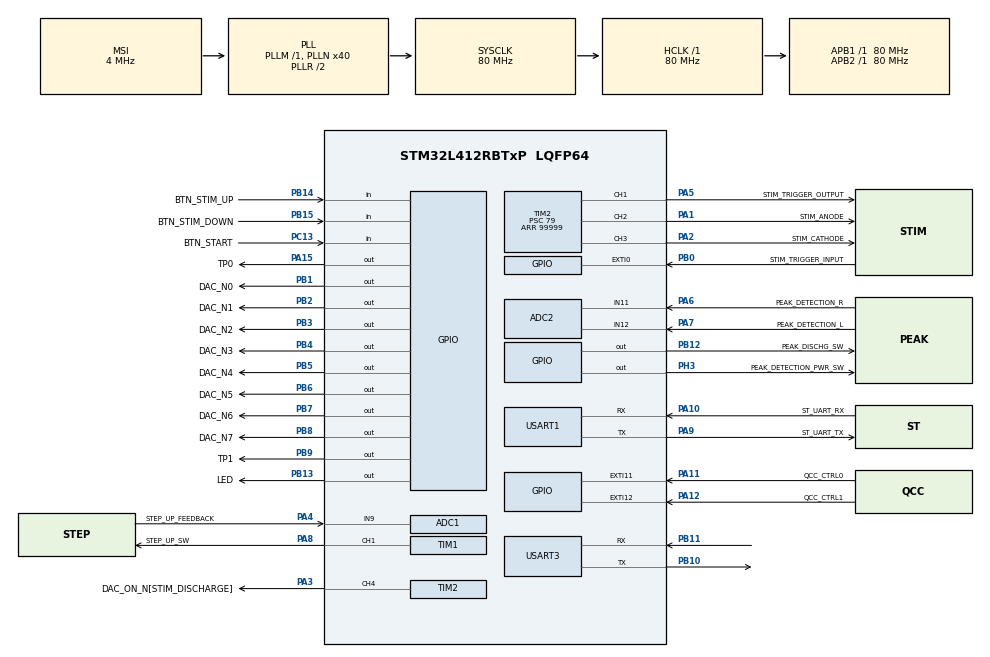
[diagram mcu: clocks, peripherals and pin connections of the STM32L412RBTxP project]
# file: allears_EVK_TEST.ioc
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ADC1.AWD1HighThreshold=2600
ADC1.AWD1ITMode=ENABLE
ADC1.Channel-0\#ChannelRegularConversion=ADC_CHANNEL_9
ADC1.ContinuousConvMode=ENABLE
ADC1.DMAContinuousRequests=ENABLE
ADC1.EOCSelection=ADC_EOC_SEQ_CONV
ADC1.EnableAnalogWatchDog1=true
ADC1.NbrOfConversionFlag=1
ADC1.OffsetNumber-0\#ChannelRegularConversion=ADC_OFFSET_NONE
ADC1.Overrun=ADC_OVR_DATA_OVERWRITTEN
ADC1.Rank-0\#ChannelRegularConversion=1
ADC1.SamplingTime-0\#ChannelRegularConversion=ADC_SAMPLETIME_2CYCLES_5
ADC1.WatchdogChannel=ADC_CHANNEL_9
ADC1.master=1
ADC2.Channel-2\#ChannelRegularConversion=ADC_CHANNEL_11
ADC2.Channel-3\#ChannelRegularConversion=ADC_CHANNEL_12
ADC2.ContinuousConvMode=DISABLE
ADC2.DMAContinuousRequests=ENABLE
ADC2.EOCSelection=ADC_EOC_SEQ_CONV
ADC2.ExternalTrigConv=ADC_EXTERNALTRIG_T2_TRGO
ADC2.ExternalTrigConvEdge=ADC_EXTERNALTRIGCONVEDGE_FALLING
ADC2.NbrOfConversion=2
ADC2.NbrOfConversionFlag=1
ADC2.OffsetNumber-2\#ChannelRegularConversion=ADC_OFFSET_NONE
ADC2.OffsetNumber-3\#ChannelRegularConversion=ADC_OFFSET_NONE
ADC2.Overrun=ADC_OVR_DATA_OVERWRITTEN
ADC2.Rank-2\#ChannelRegularConversion=1
ADC2.Rank-3\#ChannelRegularConversion=2
ADC2.SamplingTime-2\#ChannelRegularConversion=ADC_SAMPLETIME_47CYCLES_5
ADC2.SamplingTime-3\#ChannelRegularConversion=ADC_SAMPLETIME_47CYCLES_5
Dma.ADC1.2.Direction=DMA_PERIPH_TO_MEMORY
Dma.ADC1.2.Instance=DMA2_Channel3
Dma.ADC1.2.MemDataAlignment=DMA_MDATAALIGN_HALFWORD
Dma.ADC1.2.MemInc=DMA_MINC_ENABLE
Dma.ADC1.2.Mode=DMA_CIRCULAR
Dma.ADC1.2.PeriphDataAlignment=DMA_PDATAALIGN_HALFWORD
Dma.ADC1.2.PeriphInc=DMA_PINC_DISABLE
Dma.ADC1.2.Priority=DMA_PRIORITY_LOW
Dma.ADC2.3.Direction=DMA_PERIPH_TO_MEMORY
Dma.ADC2.3.Instance=DMA1_Channel2
Dma.ADC2.3.MemDataAlignment=DMA_MDATAALIGN_HALFWORD
Dma.ADC2.3.MemInc=DMA_MINC_ENABLE
Dma.ADC2.3.Mode=DMA_CIRCULAR
Dma.ADC2.3.PeriphDataAlignment=DMA_PDATAALIGN_HALFWORD
Dma.ADC2.3.PeriphInc=DMA_PINC_DISABLE
Dma.ADC2.3.Priority=DMA_PRIORITY_LOW
Dma.Request0=TIM2_CH2/CH4
Dma.Request1=TIM2_CH3
Dma.Request2=ADC1
Dma.Request3=ADC2
Dma.Request4=USART1_RX
Dma.Request5=USART1_TX
Dma.TIM2_CH2/CH4.0.Direction=DMA_MEMORY_TO_PERIPH
Dma.TIM2_CH2/CH4.0.Instance=DMA1_Channel7
Dma.TIM2_CH2/CH4.0.MemDataAlignment=DMA_MDATAALIGN_WORD
Dma.TIM2_CH2/CH4.0.MemInc=DMA_MINC_ENABLE
Dma.TIM2_CH2/CH4.0.Mode=DMA_CIRCULAR
Dma.TIM2_CH2/CH4.0.PeriphDataAlignment=DMA_PDATAALIGN_WORD
Dma.TIM2_CH2/CH4.0.PeriphInc=DMA_PINC_DISABLE
Dma.TIM2_CH2/CH4.0.Priority=DMA_PRIORITY_VERY_HIGH
Dma.TIM2_CH3.1.Direction=DMA_MEMORY_TO_PERIPH
Dma.TIM2_CH3.1.Instance=DMA1_Channel1
Dma.TIM2_CH3.1.MemDataAlignment=DMA_MDATAALIGN_WORD
Dma.TIM2_CH3.1.MemInc=DMA_MINC_ENABLE
Dma.TIM2_CH3.1.Mode=DMA_CIRCULAR
Dma.TIM2_CH3.1.PeriphDataAlignment=DMA_PDATAALIGN_WORD
Dma.TIM2_CH3.1.PeriphInc=DMA_PINC_DISABLE
Dma.TIM2_CH3.1.Priority=DMA_PRIORITY_VERY_HIGH
Dma.USART1_RX.4.Direction=DMA_PERIPH_TO_MEMORY
Dma.USART1_RX.4.Instance=DMA1_Channel5
Dma.USART1_RX.4.MemDataAlignment=DMA_MDATAALIGN_BYTE
Dma.USART1_RX.4.MemInc=DMA_MINC_ENABLE
Dma.USART1_RX.4.Mode=DMA_NORMAL
Dma.USART1_RX.4.PeriphDataAlignment=DMA_PDATAALIGN_BYTE
Dma.USART1_RX.4.PeriphInc=DMA_PINC_DISABLE
Dma.USART1_RX.4.Priority=DMA_PRIORITY_LOW
Dma.USART1_TX.5.Direction=DMA_MEMORY_TO_PERIPH
Dma.USART1_TX.5.Instance=DMA1_Channel4
Dma.USART1_TX.5.MemDataAlignment=DMA_MDATAALIGN_BYTE
Dma.USART1_TX.5.MemInc=DMA_MINC_ENABLE
Dma.USART1_TX.5.Mode=DMA_NORMAL
Dma.USART1_TX.5.PeriphDataAlignment=DMA_PDATAALIGN_BYTE
Dma.USART1_TX.5.PeriphInc=DMA_PINC_DISABLE
Dma.USART1_TX.5.Priority=DMA_PRIORITY_LOW
Mcu.Family=STM32L4
Mcu.Name=STM32L412RBTxP
Mcu.Package=LQFP64
NVIC.ADC1_2_IRQn=true\:1\:0\:true\:false\:true\:true\:true\:true
NVIC.DMA1_Channel1_IRQn=true\:1\:0\:true\:false\:true\:true\:true\:true
NVIC.DMA1_Channel2_IRQn=true\:1\:0\:true\:false\:true\:true\:true\:true
NVIC.DMA1_Channel4_IRQn=true\:0\:0\:false\:false\:true\:true\:true\:true
NVIC.DMA1_Channel5_IRQn=true\:0\:0\:false\:false\:true\:true\:true\:true
NVIC.DMA1_Channel7_IRQn=true\:1\:0\:true\:false\:true\:true\:true\:true
NVIC.EXTI0_IRQn=true\:0\:0\:false\:false\:true\:true\:true\:true
NVIC.EXTI15_10_IRQn=true\:0\:0\:false\:false\:true\:true\:true\:true
NVIC.PriorityGroup=NVIC_PRIORITYGROUP_4
NVIC.TIM1_UP_TIM16_IRQn=true\:2\:0\:true\:false\:true\:true\:true\:true
NVIC.TIM2_IRQn=true\:2\:0\:true\:false\:true\:true\:true\:true
NVIC.TIM6_IRQn=true\:2\:0\:true\:false\:true\:true\:true\:true
NVIC.USART1_IRQn=true\:0\:0\:false\:false\:true\:true\:true\:true
PA0.Mode=SYS_WakeUp0
PA0.Signal=SYS_WKUP1
PA1.GPIO_Label=STIM_ANODE
PA1.GPIO_PuPd=GPIO_NOPULL
PA1.GPIO_Speed=GPIO_SPEED_FREQ_VERY_HIGH
PA1.Signal=S_TIM2_CH2
PA10.GPIO_Label=ST_UART_RX
PA10.Mode=Asynchronous
PA10.Signal=USART1_RX
PA11.GPIO_Label=QCC_CTRL0
PA11.Signal=GPXTI11
PA12.GPIO_Label=QCC_CTRL1
PA12.Signal=GPXTI12
PA13\ (JTMS/SWDIO).GPIO_Label=TMS
PA13\ (JTMS/SWDIO).Mode=Serial_Wire
PA13\ (JTMS/SWDIO).Signal=SYS_JTMS-SWDIO
PA14\ (JTCK/SWCLK).GPIO_Label=TCK
PA14\ (JTCK/SWCLK).Mode=Serial_Wire
PA14\ (JTCK/SWCLK).Signal=SYS_JTCK-SWCLK
PA15\ (JTDI).GPIO_Label=TP0
PA15\ (JTDI).Signal=GPIO_Output
PA2.GPIO_Label=STIM_CATHODE
PA2.GPIO_PuPd=GPIO_NOPULL
PA2.GPIO_Speed=GPIO_SPEED_FREQ_VERY_HIGH
PA2.Signal=S_TIM2_CH3
PA3.GPIO_Label=DAC_ON_N[STIM_DISCHARGE]
PA3.GPIO_PuPd=GPIO_NOPULL
PA3.GPIO_Speed=GPIO_SPEED_FREQ_VERY_HIGH
PA3.Signal=S_TIM2_CH4
PA4.GPIO_Label=STEP_UP_FEEDBACK
PA4.Signal=ADCx_IN9
PA5.GPIO_Label=STIM_TRIGGER_OUTPUT
PA5.GPIO_PuPd=GPIO_NOPULL
PA5.GPIO_Speed=GPIO_SPEED_FREQ_VERY_HIGH
PA5.Signal=S_TIM2_CH1
PA6.GPIO_Label=PEAK_DETECTION_R
PA6.Signal=ADCx_IN11
PA7.GPIO_Label=PEAK_DETECTION_L
PA7.Signal=ADCx_IN12
PA8.GPIO_Label=STEP_UP_SW
PA8.Signal=S_TIM1_CH1
PA9.GPIO_Label=ST_UART_TX
PA9.Mode=Asynchronous
PA9.Signal=USART1_TX
PB0.GPIO_Label=STIM_TRIGGER_INPUT
PB0.Signal=GPXTI0
PB1.GPIO_Label=DAC_N0
PB1.Signal=GPIO_Output
PB10.Mode=Asynchronous
PB10.Signal=USART3_TX
PB11.Mode=Asynchronous
PB11.Signal=USART3_RX
PB12.GPIO_Label=PEAK_DISCHG_SW
PB12.Signal=GPIO_Output
PB13.GPIO_Label=LED
PB13.Signal=GPIO_Output
PB14.GPIO_Label=BTN_STIM_UP
PB14.Signal=GPIO_Input
PB15.GPIO_Label=BTN_STIM_DOWN
PB15.Signal=GPIO_Input
PB2.GPIO_Label=DAC_N1
PB2.Signal=GPIO_Output
PB3\ (JTDO/TRACESWO).GPIO_Label=DAC_N2
PB3\ (JTDO/TRACESWO).Signal=GPIO_Output
PB4\ (NJTRST).GPIO_Label=DAC_N3
PB4\ (NJTRST).Signal=GPIO_Output
PB5.GPIO_Label=DAC_N4
PB5.Signal=GPIO_Output
PB6.GPIO_Label=DAC_N5
PB6.Signal=GPIO_Output
PB7.GPIO_Label=DAC_N6
PB7.Signal=GPIO_Output
PB8.GPIO_Label=DAC_N7
PB8.Signal=GPIO_Output
PB9.GPIO_Label=TP1
PB9.Signal=GPIO_Output
PC13.GPIO_Label=BTN_START
PC13.GPIO_PuPd=GPIO_PULLDOWN
PC13.Signal=GPIO_Input
PC14-OSC32_IN\ (PC14).Mode=LSE-External-Oscillator
PC14-OSC32_IN\ (PC14).Signal=RCC_OSC32_IN
PC15-OSC32_OUT\ (PC15).Mode=LSE-External-Oscillator
PC15-OSC32_OUT\ (PC15).Signal=RCC_OSC32_OUT
PH0-OSC_IN\ (PH0).GPIO_Label=MCO
PH0-OSC_IN\ (PH0).Mode=HSE-External-Clock-Source
PH0-OSC_IN\ (PH0).Signal=RCC_OSC_IN
PH1-OSC_OUT\ (PH1).Signal=RCC_OSC_OUT
PH3-BOOT0\ (BOOT0).GPIO_Label=PEAK_DETECTION_PWR_SW
PH3-BOOT0\ (BOOT0).Signal=GPIO_Output
ProjectManager.HeapSize=0x7FF
ProjectManager.StackSize=0x7FF
ProjectManager.TargetToolchain=STM32CubeIDE
RCC.ADCFreq_Value=80000000
RCC.AHBFreq_Value=80000000
RCC.APB1Freq_Value=80000000
RCC.APB1TimFreq_Value=80000000
RCC.APB2Freq_Value=80000000
RCC.APB2TimFreq_Value=80000000
RCC.CortexFreq_Value=80000000
RCC.FLatency=FLASH_LATENCY_4
RCC.HCLKFreq_Value=80000000
RCC.HSE_VALUE=8000000
RCC.HSI48_VALUE=48000000
RCC.HSICalibrationValue=16
RCC.HSI_VALUE=16000000
RCC.MSIAutoCalibration=DISABLED
RCC.MSI_VALUE=4000000
RCC.PLLN=40
RCC.PREFETCH_ENABLE=1
RCC.SYSCLKFreq_VALUE=80000000
RCC.SYSCLKSource=RCC_SYSCLKSOURCE_PLLCLK
RCC.USBFreq_Value=4000000
RCC.VCOOutputFreq_Value=160000000
SH.ADCx_IN11.0=ADC2_IN11,IN11-Single-Ended
SH.ADCx_IN12.0=ADC2_IN12,IN12-Single-Ended
SH.ADCx_IN9.0=ADC1_IN9,IN9-Single-Ended
SH.S_TIM1_CH1.0=TIM1_CH1,PWM Generation1 CH1
SH.S_TIM2_CH1.0=TIM2_CH1,PWM Generation1 CH1
SH.S_TIM2_CH2.0=TIM2_CH2,PWM Generation2 CH2
SH.S_TIM2_CH3.0=TIM2_CH3,Output Compare3 CH3
SH.S_TIM2_CH4.0=TIM2_CH4,Output Compare4 CH4
TIM1.AutoReloadPreload=TIM_AUTORELOAD_PRELOAD_ENABLE
TIM1.Channel-PWM\ Generation1\ CH1=TIM_CHANNEL_1
TIM1.CounterMode=TIM_COUNTERMODE_DOWN
TIM1.Period=9999
TIM1.Prescaler=3
TIM2.AutoReloadPreload=TIM_AUTORELOAD_PRELOAD_ENABLE
TIM2.Channel-Output\ Compare3\ CH3=TIM_CHANNEL_3
TIM2.Channel-Output\ Compare4\ CH4=TIM_CHANNEL_4
TIM2.Channel-PWM\ Generation1\ CH1=TIM_CHANNEL_1
TIM2.Channel-PWM\ Generation2\ CH2=TIM_CHANNEL_2
TIM2.OC4Preload=DISABLE
TIM2.OCMode_3=TIM_OCMODE_TOGGLE
TIM2.OCMode_4=TIM_OCMODE_TOGGLE
TIM2.OCPolarity_1=TIM_OCPOLARITY_LOW
TIM2.OCPolarity_2=TIM_OCPOLARITY_HIGH
TIM2.Period=99999
TIM2.Prescaler=79
TIM2.Pulse-Output\ Compare3\ CH3=1
TIM2.Pulse-Output\ Compare4\ CH4=1
TIM2.Pulse-PWM\ Generation1\ CH1=1
TIM2.Pulse-PWM\ Generation2\ CH2=1
TIM2.TIM_MasterOutputTrigger=TIM_TRGO_OC2REF
TIM2.TIM_MasterSlaveMode=TIM_MASTERSLAVEMODE_DISABLE
TIM6.AutoReloadPreload=TIM_AUTORELOAD_PRELOAD_ENABLE
TIM6.Period=9999
TIM6.Prescaler=799
USART1.VirtualMode-Asynchronous=VM_ASYNC
USART3.VirtualMode-Asynchronous=VM_ASYNC
VP_TIM6_VS_ClockSourceINT.Mode=Enable_Timer
board=NUCLEO-L412RB-P

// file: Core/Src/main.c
/* USER CODE BEGIN Header */
/**
 ******************************************************************************
 * @file           : main.c
 * @brief          : Main program body
 ******************************************************************************
 * @attention
 *
 * Copyright (c) 2023 STMicroelectronics.
 * All rights reserved.
 *
 * This software is licensed under terms that can be found in the LICENSE file
 * in the root directory of this software component.
 * If no LICENSE file comes with this software, it is provided AS-IS.
 *
 ******************************************************************************
 */
/* USER CODE END Header */
#include "main.h"

/* USER CODE BEGIN Includes */
#include "stim_lib.h"

#include "td_schedule.h"

#include "td_private.h"
#include "bt_msg_private.h"
#include "td_uart1.h"

#include "td_debug.h"
/* USER CODE END Includes */

ADC_HandleTypeDef hadc1;
ADC_HandleTypeDef hadc2;
DMA_HandleTypeDef hdma_adc1;
DMA_HandleTypeDef hdma_adc2;

TIM_HandleTypeDef htim1;
TIM_HandleTypeDef htim2;
TIM_HandleTypeDef htim6;
DMA_HandleTypeDef hdma_tim2_ch2_ch4;
DMA_HandleTypeDef hdma_tim2_ch3;

UART_HandleTypeDef huart1;
UART_HandleTypeDef huart3;
DMA_HandleTypeDef hdma_usart1_rx;
DMA_HandleTypeDef hdma_usart1_tx;

void SystemClock_Config(void);
/* USER CODE BEGIN PFP */
UART_HandleTypeDef* tdUsart1_handlerGet(void)
{
	return &huart1;
}

void USER_DMA_INIT(void)
{
	/* DMA1_Channel4_IRQn interrupt configuration */
	HAL_NVIC_SetPriority(DMA1_Channel4_IRQn, 0, 0);
	HAL_NVIC_EnableIRQ(DMA1_Channel4_IRQn);
	/* DMA1_Channel5_IRQn interrupt configuration */
	HAL_NVIC_SetPriority(DMA1_Channel5_IRQn, 0, 0);
	HAL_NVIC_EnableIRQ(DMA1_Channel5_IRQn);
}

/*
 * STIM LIB :: EXTI CALLBACK
 * */
void HAL_GPIO_EXTI_Callback(uint16_t GPIO_Pin)
{
	/*
	 * Trigger Input External Interrupt Process
	 * */
	stimLib_trgInput_callback(GPIO_Pin);

	/* Application Code */
}

/*
 * STIM LIB :: PULSE FINISH INTERRUPT
 * */
void HAL_TIM_ErrorCallback(TIM_HandleTypeDef *htim)
{
	stimLib_timError_callback(htim);
	TD_DEBUG_PRINT(("HAL_TIM_ErrorCallback\n"));
}

void HAL_TIM_PWM_PulseFinishedHalfCpltCallback(TIM_HandleTypeDef *htim)
{
	TD_DEBUG_PRINT(("HAL_TIM_PWM_PulseFinishedHalfCpltCallback\n"));
}

void HAL_TIM_PWM_PulseFinishedCallback(TIM_HandleTypeDef *htim)
{
	stimLib_timPwmPluseFinished_callback(htim);
	TD_DEBUG_PRINT(("HAL_TIM_PWM_PulseFinishedCallback\n"));
}

/*
 * TIMER INTERRUPT :: STEPUP SCHEDULER
 * */
void HAL_TIM_PeriodElapsedCallback(TIM_HandleTypeDef *htim)
{
	stimLib_stepup_ctrlCallback(htim);
}

/*
 * STIM LIB :: ADC Error Callback
 * */
void HAL_ADC_ErrorCallback(ADC_HandleTypeDef *hadc)
{
	stimLib_adcError_callback();
}

/*
 * STIM LIB :: Ste-up ADC watchdog
 * */
void HAL_ADC_LevelOutOfWindowCallback(ADC_HandleTypeDef *hadc)
{
	stimLib_adcWatchdoc_callback();
}

#if 0
/*
 * STIM LIB :: Peak Detection Data Read
 * */
void HAL_ADC_ConvCpltCallback(ADC_HandleTypeDef *hadc)
{
	/*
	 * How to read Peak Detection data
	 * Please refer to the example code below
	 * ----------------------------------------
	 * uint8_t i;
	 * if (hadc->Instance == hadc2.Instance)
	 * {
	 * 		for (i = 0; i < PD_ADC_CONVERSION_SIZE; i++)
	 * 		{
	 * 			USER_PD_ADC_BUFF_R[i] = PD_ADC_CONVERSION_BUFFER[i * 2];
	 * 			USER_PD_ADC_BUFF_R[i] = PD_ADC_CONVERSION_BUFFER[(i * 2) + 1];
	 * 		}
	 * }
	 * ----------------------------------------
	 */
}
#endif

/* USER CODE END PFP */

int main(void)
{

	/* MCU Configuration--------------------------------------------------------*/

	/* Reset of all peripherals, Initializes the Flash interface and the Systick. */
	HAL_Init();

	/* Configure the system clock */
	SystemClock_Config();

	/* USER CODE BEGIN SysInit */
	MX_USART3_UART_Init();
	stimLib_stimInit();
	USER_DMA_INIT();
	MX_USART1_UART_Init();
#if 0
	/* USER CODE END SysInit */

	/* Initialize all configured peripherals */
	MX_GPIO_Init();
	MX_DMA_Init();
	MX_USART3_UART_Init();
	MX_TIM1_Init();
	MX_TIM2_Init();
	MX_TIM6_Init();
	MX_ADC1_Init();
	MX_ADC2_Init();
	MX_USART1_UART_Init();
	/* USER CODE BEGIN 2 */
#endif
	TD_DEBUG_INIT();
	TD_DEBUG_PRINT(("main() starts\n"));

	tdUart1_init();
	btMsg_init();

#if 0
	stim_signal_cfg_t pulse_data;

	pulse_data.freq = 10;
	pulse_data.pulse_width = 1000;
	pulse_data.degree = 20;
	stimLib_stimSignalConfig(&pulse_data);
#endif
#if 0
	stim_trg_cfg_t trg_data;

	trg_data.volt_prestart = true;
	trg_data.trg_out_enable = false;
	trg_data.trg_out_active_pol = 1;
	trg_data.trg_in_enable = true;
	trg_data.trg_in_active_pol = 1;
	trg_data.trg_in_toggled = true;
	stimLib_stimTriggerConfig(&trg_data);
#endif

	/* USER CODE END 2 */

	/* Infinite loop */
	while (1)
	{

		/* USER CODE BEGIN 3 */
#if 0
		pulse_data.freq = 10;
		pulse_data.pulse_width = 1000;
		pulse_data.degree = 1;
		stimLib_stimSignalConfig(&pulse_data);

		trg_data.volt_prestart = false;
		trg_data.trg_out_enable = false;
		trg_data.trg_out_active_pol = 1;
		trg_data.trg_in_enable = false;
		trg_data.trg_in_active_pol = 1;
		trg_data.trg_in_toggled = true;
		stimLib_stimTriggerConfig(&trg_data);

		stimLib_stimSessionStart();

		stimLib_stimStart();
		HAL_Delay(1000);

		stimLib_stimPause();
		HAL_Delay(300);
		stimLib_stimSessionStop();
#endif
		td_Schedule();
	}
	/* USER CODE END 3 */
}

void SystemClock_Config(void)
{
	RCC_OscInitTypeDef RCC_OscInitStruct =
	{ 0 };
	RCC_ClkInitTypeDef RCC_ClkInitStruct =
	{ 0 };

	/** Configure the main internal regulator output voltage
	 */
	if (HAL_PWREx_ControlVoltageScaling(PWR_REGULATOR_VOLTAGE_SCALE1) != HAL_OK)
	{
		Error_Handler();
	}

	/** Initializes the RCC Oscillators according to the specified parameters
	 * in the RCC_OscInitTypeDef structure.
	 */
	RCC_OscInitStruct.OscillatorType = RCC_OSCILLATORTYPE_MSI;
	RCC_OscInitStruct.MSIState = RCC_MSI_ON;
	RCC_OscInitStruct.MSICalibrationValue = 0;
	RCC_OscInitStruct.MSIClockRange = RCC_MSIRANGE_6;
	RCC_OscInitStruct.PLL.PLLState = RCC_PLL_ON;
	RCC_OscInitStruct.PLL.PLLSource = RCC_PLLSOURCE_MSI;
	RCC_OscInitStruct.PLL.PLLM = 1;
	RCC_OscInitStruct.PLL.PLLN = 40;
	RCC_OscInitStruct.PLL.PLLQ = RCC_PLLQ_DIV2;
	RCC_OscInitStruct.PLL.PLLR = RCC_PLLR_DIV2;
	if (HAL_RCC_OscConfig(&RCC_OscInitStruct) != HAL_OK)
	{
		Error_Handler();
	}

	/** Initializes the CPU, AHB and APB buses clocks
	 */
	RCC_ClkInitStruct.ClockType = RCC_CLOCKTYPE_HCLK | RCC_CLOCKTYPE_SYSCLK | RCC_CLOCKTYPE_PCLK1 | RCC_CLOCKTYPE_PCLK2;
	RCC_ClkInitStruct.SYSCLKSource = RCC_SYSCLKSOURCE_PLLCLK;
	RCC_ClkInitStruct.AHBCLKDivider = RCC_SYSCLK_DIV1;
	RCC_ClkInitStruct.APB1CLKDivider = RCC_HCLK_DIV1;
	RCC_ClkInitStruct.APB2CLKDivider = RCC_HCLK_DIV1;

	if (HAL_RCC_ClockConfig(&RCC_ClkInitStruct, FLASH_LATENCY_4) != HAL_OK)
	{
		Error_Handler();
	}
}

void MX_ADC1_Init(void)
{

	ADC_MultiModeTypeDef multimode =
	{ 0 };
	ADC_AnalogWDGConfTypeDef AnalogWDGConfig =
	{ 0 };
	ADC_ChannelConfTypeDef sConfig =
	{ 0 };

	/** Common config
	 */
	hadc1.Instance = ADC1;
	hadc1.Init.ClockPrescaler = ADC_CLOCK_ASYNC_DIV1;
	hadc1.Init.Resolution = ADC_RESOLUTION_12B;
	hadc1.Init.DataAlign = ADC_DATAALIGN_RIGHT;
	hadc1.Init.ScanConvMode = ADC_SCAN_DISABLE;
	hadc1.Init.EOCSelection = ADC_EOC_SEQ_CONV;
	hadc1.Init.LowPowerAutoWait = DISABLE;
	hadc1.Init.ContinuousConvMode = ENABLE;
	hadc1.Init.NbrOfConversion = 1;
	hadc1.Init.DiscontinuousConvMode = DISABLE;
	hadc1.Init.ExternalTrigConv = ADC_SOFTWARE_START;
	hadc1.Init.ExternalTrigConvEdge = ADC_EXTERNALTRIGCONVEDGE_NONE;
	hadc1.Init.DMAContinuousRequests = ENABLE;
	hadc1.Init.Overrun = ADC_OVR_DATA_OVERWRITTEN;
	hadc1.Init.OversamplingMode = DISABLE;
	if (HAL_ADC_Init(&hadc1) != HAL_OK)
	{
		Error_Handler();
	}

	/** Configure the ADC multi-mode
	 */
	multimode.Mode = ADC_MODE_INDEPENDENT;
	if (HAL_ADCEx_MultiModeConfigChannel(&hadc1, &multimode) != HAL_OK)
	{
		Error_Handler();
	}

	/** Configure Analog WatchDog 1
	 */
	AnalogWDGConfig.WatchdogNumber = ADC_ANALOGWATCHDOG_1;
	AnalogWDGConfig.WatchdogMode = ADC_ANALOGWATCHDOG_SINGLE_REG;
	AnalogWDGConfig.Channel = ADC_CHANNEL_9;
	AnalogWDGConfig.ITMode = ENABLE;
	AnalogWDGConfig.HighThreshold = 2600;
	AnalogWDGConfig.LowThreshold = 0;
	if (HAL_ADC_AnalogWDGConfig(&hadc1, &AnalogWDGConfig) != HAL_OK)
	{
		Error_Handler();
	}

	/** Configure Regular Channel
	 */
	sConfig.Channel = ADC_CHANNEL_9;
	sConfig.Rank = ADC_REGULAR_RANK_1;
	sConfig.SamplingTime = ADC_SAMPLETIME_2CYCLES_5;
	sConfig.SingleDiff = ADC_SINGLE_ENDED;
	sConfig.OffsetNumber = ADC_OFFSET_NONE;
	sConfig.Offset = 0;
	if (HAL_ADC_ConfigChannel(&hadc1, &sConfig) != HAL_OK)
	{
		Error_Handler();
	}

}

void MX_ADC2_Init(void)
{

	ADC_ChannelConfTypeDef sConfig =
	{ 0 };

	/** Common config
	 */
	hadc2.Instance = ADC2;
	hadc2.Init.ClockPrescaler = ADC_CLOCK_ASYNC_DIV1;
	hadc2.Init.Resolution = ADC_RESOLUTION_12B;
	hadc2.Init.DataAlign = ADC_DATAALIGN_RIGHT;
	hadc2.Init.ScanConvMode = ADC_SCAN_ENABLE;
	hadc2.Init.EOCSelection = ADC_EOC_SEQ_CONV;
	hadc2.Init.LowPowerAutoWait = DISABLE;
	hadc2.Init.ContinuousConvMode = DISABLE;
	hadc2.Init.NbrOfConversion = 2;
	hadc2.Init.DiscontinuousConvMode = DISABLE;
	hadc2.Init.ExternalTrigConv = ADC_EXTERNALTRIG_T2_TRGO;
	hadc2.Init.ExternalTrigConvEdge = ADC_EXTERNALTRIGCONVEDGE_FALLING;
	hadc2.Init.DMAContinuousRequests = ENABLE;
	hadc2.Init.Overrun = ADC_OVR_DATA_OVERWRITTEN;
	hadc2.Init.OversamplingMode = DISABLE;
	if (HAL_ADC_Init(&hadc2) != HAL_OK)
	{
		Error_Handler();
	}

	/** Configure Regular Channel
	 */
	sConfig.Channel = ADC_CHANNEL_11;
	sConfig.Rank = ADC_REGULAR_RANK_1;
	sConfig.SamplingTime = ADC_SAMPLETIME_47CYCLES_5;
	sConfig.SingleDiff = ADC_SINGLE_ENDED;
	sConfig.OffsetNumber = ADC_OFFSET_NONE;
	sConfig.Offset = 0;
	if (HAL_ADC_ConfigChannel(&hadc2, &sConfig) != HAL_OK)
	{
		Error_Handler();
	}

	/** Configure Regular Channel
	 */
	sConfig.Channel = ADC_CHANNEL_12;
	sConfig.Rank = ADC_REGULAR_RANK_2;
	if (HAL_ADC_ConfigChannel(&hadc2, &sConfig) != HAL_OK)
	{
		Error_Handler();
	}

}

void MX_TIM1_Init(void)
{

	TIM_MasterConfigTypeDef sMasterConfig =
	{ 0 };
	TIM_OC_InitTypeDef sConfigOC =
	{ 0 };
	TIM_BreakDeadTimeConfigTypeDef sBreakDeadTimeConfig =
	{ 0 };

	htim1.Instance = TIM1;
	htim1.Init.Prescaler = 3;
	htim1.Init.CounterMode = TIM_COUNTERMODE_DOWN;
	htim1.Init.Period = 9999;
	htim1.Init.ClockDivision = TIM_CLOCKDIVISION_DIV1;
	htim1.Init.RepetitionCounter = 0;
	htim1.Init.AutoReloadPreload = TIM_AUTORELOAD_PRELOAD_ENABLE;
	if (HAL_TIM_PWM_Init(&htim1) != HAL_OK)
	{
		Error_Handler();
	}
	sMasterConfig.MasterOutputTrigger = TIM_TRGO_RESET;
	sMasterConfig.MasterOutputTrigger2 = TIM_TRGO2_RESET;
	sMasterConfig.MasterSlaveMode = TIM_MASTERSLAVEMODE_DISABLE;
	if (HAL_TIMEx_MasterConfigSynchronization(&htim1, &sMasterConfig) != HAL_OK)
	{
		Error_Handler();
	}
	sConfigOC.OCMode = TIM_OCMODE_PWM1;
	sConfigOC.Pulse = 0;
	sConfigOC.OCPolarity = TIM_OCPOLARITY_HIGH;
	sConfigOC.OCNPolarity = TIM_OCNPOLARITY_HIGH;
	sConfigOC.OCFastMode = TIM_OCFAST_DISABLE;
	sConfigOC.OCIdleState = TIM_OCIDLESTATE_RESET;
	sConfigOC.OCNIdleState = TIM_OCNIDLESTATE_RESET;
	if (HAL_TIM_PWM_ConfigChannel(&htim1, &sConfigOC, TIM_CHANNEL_1) != HAL_OK)
	{
		Error_Handler();
	}
	sBreakDeadTimeConfig.OffStateRunMode = TIM_OSSR_DISABLE;
	sBreakDeadTimeConfig.OffStateIDLEMode = TIM_OSSI_DISABLE;
	sBreakDeadTimeConfig.LockLevel = TIM_LOCKLEVEL_OFF;
	sBreakDeadTimeConfig.DeadTime = 0;
	sBreakDeadTimeConfig.BreakState = TIM_BREAK_DISABLE;
	sBreakDeadTimeConfig.BreakPolarity = TIM_BREAKPOLARITY_HIGH;
	sBreakDeadTimeConfig.BreakFilter = 0;
	sBreakDeadTimeConfig.Break2State = TIM_BREAK2_DISABLE;
	sBreakDeadTimeConfig.Break2Polarity = TIM_BREAK2POLARITY_HIGH;
	sBreakDeadTimeConfig.Break2Filter = 0;
	sBreakDeadTimeConfig.AutomaticOutput = TIM_AUTOMATICOUTPUT_DISABLE;
	if (HAL_TIMEx_ConfigBreakDeadTime(&htim1, &sBreakDeadTimeConfig) != HAL_OK)
	{
		Error_Handler();
	}
	HAL_TIM_MspPostInit(&htim1);

}

void MX_TIM2_Init(void)
{

	TIM_MasterConfigTypeDef sMasterConfig =
	{ 0 };
	TIM_OC_InitTypeDef sConfigOC =
	{ 0 };

	htim2.Instance = TIM2;
	htim2.Init.Prescaler = 79;
	htim2.Init.CounterMode = TIM_COUNTERMODE_UP;
	htim2.Init.Period = 99999;
	htim2.Init.ClockDivision = TIM_CLOCKDIVISION_DIV1;
	htim2.Init.AutoReloadPreload = TIM_AUTORELOAD_PRELOAD_ENABLE;
	if (HAL_TIM_PWM_Init(&htim2) != HAL_OK)
	{
		Error_Handler();
	}
	if (HAL_TIM_OC_Init(&htim2) != HAL_OK)
	{
		Error_Handler();
	}
	sMasterConfig.MasterOutputTrigger = TIM_TRGO_OC2REF;
	sMasterConfig.MasterSlaveMode = TIM_MASTERSLAVEMODE_DISABLE;
	if (HAL_TIMEx_MasterConfigSynchronization(&htim2, &sMasterConfig) != HAL_OK)
	{
		Error_Handler();
	}
	sConfigOC.OCMode = TIM_OCMODE_PWM1;
	sConfigOC.Pulse = 1;
	sConfigOC.OCPolarity = TIM_OCPOLARITY_LOW;
	sConfigOC.OCFastMode = TIM_OCFAST_DISABLE;
	if (HAL_TIM_PWM_ConfigChannel(&htim2, &sConfigOC, TIM_CHANNEL_1) != HAL_OK)
	{
		Error_Handler();
	}
	sConfigOC.OCPolarity = TIM_OCPOLARITY_HIGH;
	if (HAL_TIM_PWM_ConfigChannel(&htim2, &sConfigOC, TIM_CHANNEL_2) != HAL_OK)
	{
		Error_Handler();
	}
	sConfigOC.OCMode = TIM_OCMODE_TOGGLE;
	if (HAL_TIM_OC_ConfigChannel(&htim2, &sConfigOC, TIM_CHANNEL_3) != HAL_OK)
	{
		Error_Handler();
	}
	if (HAL_TIM_OC_ConfigChannel(&htim2, &sConfigOC, TIM_CHANNEL_4) != HAL_OK)
	{
		Error_Handler();
	}
	HAL_TIM_MspPostInit(&htim2);

}

void MX_TIM6_Init(void)
{

	TIM_MasterConfigTypeDef sMasterConfig =
	{ 0 };

	htim6.Instance = TIM6;
	htim6.Init.Prescaler = 799;
	htim6.Init.CounterMode = TIM_COUNTERMODE_UP;
	htim6.Init.Period = 9999;
	htim6.Init.AutoReloadPreload = TIM_AUTORELOAD_PRELOAD_ENABLE;
	if (HAL_TIM_Base_Init(&htim6) != HAL_OK)
	{
		Error_Handler();
	}
	sMasterConfig.MasterOutputTrigger = TIM_TRGO_RESET;
	sMasterConfig.MasterSlaveMode = TIM_MASTERSLAVEMODE_DISABLE;
	if (HAL_TIMEx_MasterConfigSynchronization(&htim6, &sMasterConfig) != HAL_OK)
	{
		Error_Handler();
	}

}

void MX_USART1_UART_Init(void)
{

	huart1.Instance = USART1;
	huart1.Init.BaudRate = 115200;
	huart1.Init.WordLength = UART_WORDLENGTH_8B;
	huart1.Init.StopBits = UART_STOPBITS_1;
	huart1.Init.Parity = UART_PARITY_NONE;
	huart1.Init.Mode = UART_MODE_TX_RX;
	huart1.Init.HwFlowCtl = UART_HWCONTROL_NONE;
	huart1.Init.OverSampling = UART_OVERSAMPLING_16;
	huart1.Init.OneBitSampling = UART_ONE_BIT_SAMPLE_DISABLE;
	huart1.AdvancedInit.AdvFeatureInit = UART_ADVFEATURE_NO_INIT;
	if (HAL_UART_Init(&huart1) != HAL_OK)
	{
		Error_Handler();
	}

}

void MX_USART3_UART_Init(void)
{

	huart3.Instance = USART3;
	huart3.Init.BaudRate = 115200;
	huart3.Init.WordLength = UART_WORDLENGTH_8B;
	huart3.Init.StopBits = UART_STOPBITS_1;
	huart3.Init.Parity = UART_PARITY_NONE;
	huart3.Init.Mode = UART_MODE_TX_RX;
	huart3.Init.HwFlowCtl = UART_HWCONTROL_NONE;
	huart3.Init.OverSampling = UART_OVERSAMPLING_16;
	huart3.Init.OneBitSampling = UART_ONE_BIT_SAMPLE_DISABLE;
	huart3.AdvancedInit.AdvFeatureInit = UART_ADVFEATURE_NO_INIT;
	if (HAL_UART_Init(&huart3) != HAL_OK)
	{
		Error_Handler();
	}

}

void MX_DMA_Init(void)
{

	/* DMA controller clock enable */
	__HAL_RCC_DMA1_CLK_ENABLE();
	__HAL_RCC_DMA2_CLK_ENABLE();

	/* DMA interrupt init */
	/* DMA1_Channel1_IRQn interrupt configuration */
	HAL_NVIC_SetPriority(DMA1_Channel1_IRQn, 1, 0);
	HAL_NVIC_EnableIRQ(DMA1_Channel1_IRQn);
	/* DMA1_Channel2_IRQn interrupt configuration */
	HAL_NVIC_SetPriority(DMA1_Channel2_IRQn, 1, 0);
	HAL_NVIC_EnableIRQ(DMA1_Channel2_IRQn);
	/* DMA1_Channel4_IRQn interrupt configuration */
	HAL_NVIC_SetPriority(DMA1_Channel4_IRQn, 0, 0);
	HAL_NVIC_EnableIRQ(DMA1_Channel4_IRQn);
	/* DMA1_Channel5_IRQn interrupt configuration */
	HAL_NVIC_SetPriority(DMA1_Channel5_IRQn, 0, 0);
	HAL_NVIC_EnableIRQ(DMA1_Channel5_IRQn);
	/* DMA1_Channel7_IRQn interrupt configuration */
	HAL_NVIC_SetPriority(DMA1_Channel7_IRQn, 1, 0);
	HAL_NVIC_EnableIRQ(DMA1_Channel7_IRQn);

}

void MX_GPIO_Init(void)
{
	GPIO_InitTypeDef GPIO_InitStruct =
	{ 0 };

	/* GPIO Ports Clock Enable */
	__HAL_RCC_GPIOC_CLK_ENABLE();
	__HAL_RCC_GPIOH_CLK_ENABLE();
	__HAL_RCC_GPIOA_CLK_ENABLE();
	__HAL_RCC_GPIOB_CLK_ENABLE();

	/*Configure GPIO pin Output Level */
	HAL_GPIO_WritePin(GPIOB,
	DAC_N0_Pin | DAC_N1_Pin | PEAK_DISCHG_SW_Pin | LED_Pin | DAC_N2_Pin | DAC_N3_Pin | DAC_N4_Pin | DAC_N5_Pin | DAC_N6_Pin | DAC_N7_Pin | TP1_Pin,
			GPIO_PIN_RESET);

	/*Configure GPIO pin Output Level */
	HAL_GPIO_WritePin(TP0_GPIO_Port, TP0_Pin, GPIO_PIN_RESET);

	/*Configure GPIO pin Output Level */
	HAL_GPIO_WritePin(PEAK_DETECTION_PWR_SW_GPIO_Port,
	PEAK_DETECTION_PWR_SW_Pin, GPIO_PIN_RESET);

	/*Configure GPIO pin : BTN_START_Pin */
	GPIO_InitStruct.Pin = BTN_START_Pin;
	GPIO_InitStruct.Mode = GPIO_MODE_INPUT;
	GPIO_InitStruct.Pull = GPIO_PULLDOWN;
	HAL_GPIO_Init(BTN_START_GPIO_Port, &GPIO_InitStruct);

	/*Configure GPIO pin : STIM_TRIGGER_INPUT_Pin */
	GPIO_InitStruct.Pin = STIM_TRIGGER_INPUT_Pin;
	GPIO_InitStruct.Mode = GPIO_MODE_IT_RISING;
	GPIO_InitStruct.Pull = GPIO_NOPULL;
	HAL_GPIO_Init(STIM_TRIGGER_INPUT_GPIO_Port, &GPIO_InitStruct);

	/*Configure GPIO pins : DAC_N0_Pin DAC_N1_Pin PEAK_DISCHG_SW_Pin LED_Pin
	 DAC_N2_Pin DAC_N3_Pin DAC_N4_Pin DAC_N5_Pin
	 DAC_N6_Pin DAC_N7_Pin TP1_Pin */
	GPIO_InitStruct.Pin = DAC_N0_Pin | DAC_N1_Pin | PEAK_DISCHG_SW_Pin | LED_Pin | DAC_N2_Pin | DAC_N3_Pin | DAC_N4_Pin | DAC_N5_Pin | DAC_N6_Pin
			| DAC_N7_Pin | TP1_Pin;
	GPIO_InitStruct.Mode = GPIO_MODE_OUTPUT_PP;
	GPIO_InitStruct.Pull = GPIO_NOPULL;
	GPIO_InitStruct.Speed = GPIO_SPEED_FREQ_LOW;
	HAL_GPIO_Init(GPIOB, &GPIO_InitStruct);

	/*Configure GPIO pins : BTN_STIM_UP_Pin BTN_STIM_DOWN_Pin */
	GPIO_InitStruct.Pin = BTN_STIM_UP_Pin | BTN_STIM_DOWN_Pin;
	GPIO_InitStruct.Mode = GPIO_MODE_INPUT;
	GPIO_InitStruct.Pull = GPIO_NOPULL;
	HAL_GPIO_Init(GPIOB, &GPIO_InitStruct);

	/*Configure GPIO pins : QCC_CTRL0_Pin QCC_CTRL1_Pin */
	GPIO_InitStruct.Pin = QCC_CTRL0_Pin | QCC_CTRL1_Pin;
	GPIO_InitStruct.Mode = GPIO_MODE_IT_RISING;
	GPIO_InitStruct.Pull = GPIO_NOPULL;
	HAL_GPIO_Init(GPIOA, &GPIO_InitStruct);

	/*Configure GPIO pin : TP0_Pin */
	GPIO_InitStruct.Pin = TP0_Pin;
	GPIO_InitStruct.Mode = GPIO_MODE_OUTPUT_PP;
	GPIO_InitStruct.Pull = GPIO_NOPULL;
	GPIO_InitStruct.Speed = GPIO_SPEED_FREQ_LOW;
	HAL_GPIO_Init(TP0_GPIO_Port, &GPIO_InitStruct);

	/*Configure GPIO pin : PEAK_DETECTION_PWR_SW_Pin */
	GPIO_InitStruct.Pin = PEAK_DETECTION_PWR_SW_Pin;
	GPIO_InitStruct.Mode = GPIO_MODE_OUTPUT_PP;
	GPIO_InitStruct.Pull = GPIO_NOPULL;
	GPIO_InitStruct.Speed = GPIO_SPEED_FREQ_LOW;
	HAL_GPIO_Init(PEAK_DETECTION_PWR_SW_GPIO_Port, &GPIO_InitStruct);

	/* EXTI interrupt init*/
	HAL_NVIC_SetPriority(EXTI0_IRQn, 0, 0);
	HAL_NVIC_EnableIRQ(EXTI0_IRQn);

	HAL_NVIC_SetPriority(EXTI15_10_IRQn, 0, 0);
	HAL_NVIC_EnableIRQ(EXTI15_10_IRQn);

}

void Error_Handler(void)
{
	__disable_irq();
	while (1)
	{
	}
}
